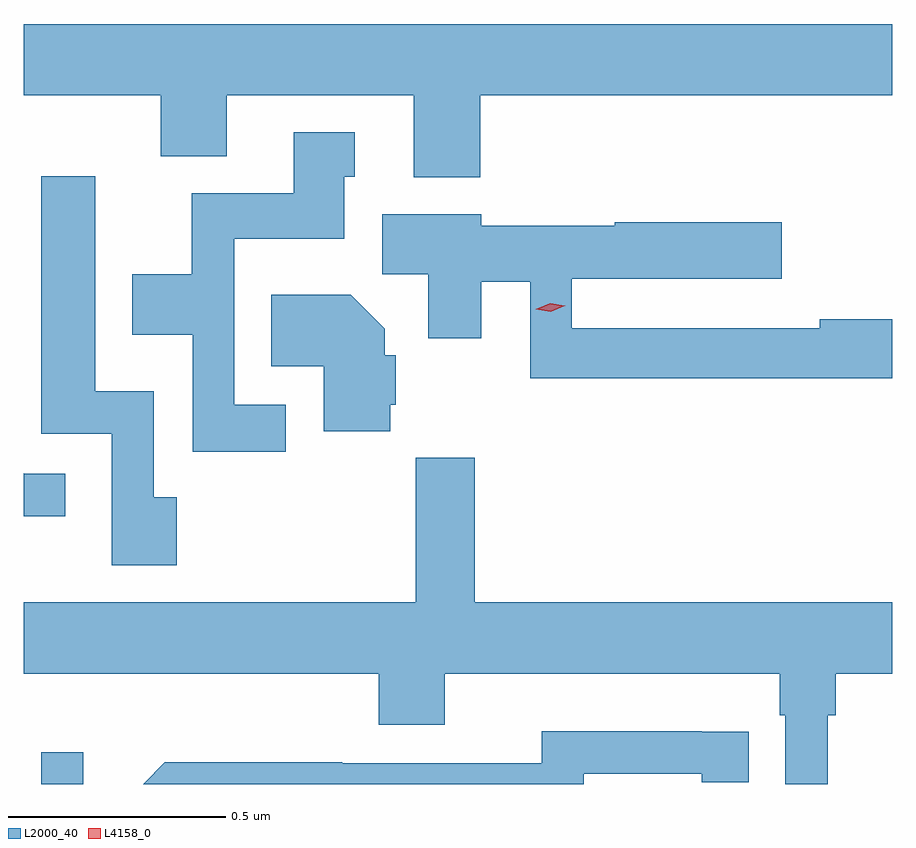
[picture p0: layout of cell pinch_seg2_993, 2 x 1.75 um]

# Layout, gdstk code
import gdstk
lib = gdstk.Library(unit=1e-6, precision=1e-09)
def R(c, l, rs):  # rectangles x0, y0, x1, y1
    for r in rs: c.add(gdstk.rectangle(r[:2], r[2:], *l))
def P(c, l, *ps):  # polygons
    for p in ps: c.add(gdstk.Polygon(p, *l))
L2000_40 = (2000, 40)
L4158_0 = (4158, 0)

pinch_seg2_993 = lib.new_cell('pinch_seg2_993')
R(pinch_seg2_993, L2000_40, [(266.591,626.07,266.688,626.143)])
P(pinch_seg2_993, L2000_40, [(267.602,627.656),(268.551,627.656),(268.551,627.82),(266.551,627.82),(266.551,627.656),(266.867,627.656),(266.867,627.515),(267.019,627.515),(267.019,627.656),(267.449,627.656),(267.449,627.467),(267.602,627.467)],
  [(267.154,626.943),(267.036,626.943),(267.036,627.326),(267.289,627.326),(267.289,627.468),(267.313,627.468),(267.313,627.571),(267.173,627.571),(267.173,627.43),(266.938,627.43),(266.938,627.244),(266.801,627.244),(266.801,627.104),(266.94,627.104),(266.94,626.835),(267.154,626.835)],
  [(266.903,626.73),(266.85,626.73),(266.85,626.974),(266.716,626.974),(266.716,627.469),(266.591,627.469),(266.591,626.877),(266.754,626.877),(266.754,626.574),(266.903,626.574)],
  [(268.551,627.14),(268.384,627.14),(268.384,627.12),(267.813,627.12),(267.813,627.233),(268.297,627.233),(268.297,627.363),(267.912,627.363),(267.912,627.355),(267.604,627.355),(267.604,627.382),(267.377,627.382),(267.377,627.244),(267.482,627.244),(267.482,627.096),(267.604,627.096),(267.604,627.226),(267.717,627.226),(267.717,627.004),(268.551,627.004)],
  [(267.395,626.943),(267.408,626.943),(267.408,627.057),(267.382,627.057),(267.382,627.118),(267.304,627.196),(267.121,627.196),(267.121,627.032),(267.242,627.032),(267.242,626.882),(267.395,626.882)],
  [(268.402,626.228),(268.421,626.228),(268.421,626.324),(268.551,626.324),(268.551,626.488),(267.59,626.488),(267.59,626.821),(267.454,626.821),(267.454,626.488),(266.551,626.488),(266.551,626.324),(267.368,626.324),(267.368,626.207),(267.52,626.207),(267.52,626.324),(268.292,626.324),(268.292,626.228),(268.305,626.228),(268.305,626.07),(268.402,626.07)],
  [(266.647,626.784),(266.553,626.784),(266.551,626.786),(266.551,626.687),(266.647,626.687)],
  [(267.84,626.094),(268.112,626.094),(268.112,626.074),(268.22,626.074),(268.22,626.19),(268.112,626.19),(268.112,626.191),(267.744,626.191),(267.744,626.118),(267.284,626.118),(267.284,626.12),(266.876,626.12),(266.826,626.07),(267.84,626.07)])
P(pinch_seg2_993, L4158_0, [(267.765,627.157),(267.73,627.163),(267.73,627.163),(267.73,627.163),(267.763,627.177),(267.797,627.171),(267.798,627.171),(267.797,627.171)])

lib.write_gds('pinch_seg2_993.gds')
